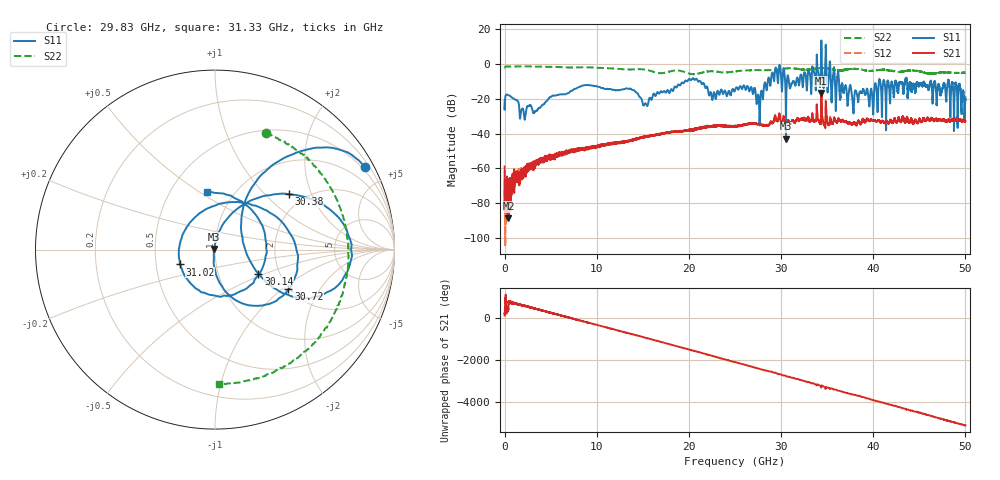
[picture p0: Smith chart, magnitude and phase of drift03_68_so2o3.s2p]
!Created with skrf (http://scikit-rf.org).
# Hz S RI R 50.0
!freq ReS11 ImS11 ReS21 ImS21 ReS12 ImS12 ReS22 ImS22
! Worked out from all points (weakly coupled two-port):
!   10001 points, 300 kHz to 50 GHz, reference 50 ohm
!   highest |S21| = -16.62 dB at 34.37 GHz (marker M1); lowest = -88.8 dB at 420.3 MHz (marker M2)
!   lowest |S11| = -43.0 dB at 30.53 GHz (marker M3), VSWR 1.01, Z = 49.4 + j0.338 ohm
!   |S11| at or under -10 dB: start of sweep to 19.55 GHz; 21.25 GHz to 28.55 GHz (7.298 GHz wide, 29.3 % of centre); 36.28 GHz to 40.62 GHz (4.331 GHz wide, 11.3 % of centre) (the widest 3 of 35)
!   |S22| runs from -5.9 to -1.3 dB; largest |S21 - S12| = 0.025
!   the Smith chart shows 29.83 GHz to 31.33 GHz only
!   S11 on the Smith chart (normalised r, x): 29.83 GHz: 0.38, +3.86; 30.14 GHz: 1.56, -0.46; 30.38 GHz: 1.66, +1.39; 30.72 GHz: 1.97, -1.11; 31.02 GHz: 0.66, -0.12; 31.33 GHz: 0.75, +0.54
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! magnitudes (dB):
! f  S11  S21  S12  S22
! 300 kHz  -21.2  -59.0  -66.6  -2.1
! 420.3 MHz  -18.0  -88.8  -71.6  -1.4
! 3.295 GHz  -27.3  -56.8  -58.6  -1.5
! 8.335 GHz  -12.6  -49.2  -48.9  -1.9
! 15.29 GHz  -22.7  -41.7  -41.8  -3.3
! 16.67 GHz  -16.5  -40.5  -40.5  -5.2
! 20.27 GHz  -9.1  -38.4  -38.0  -5.8
! 22.71 GHz  -16.4  -35.5  -35.7  -4.2
! 25 GHz  -15.2  -36.0  -35.9  -4.3
! 27.53 GHz  -17.8  -34.4  -34.5  -3.5
! 29.83 GHz  -0.4  -29.1  -28.6  -3.0
! 30.14 GHz  -11.1  -33.0  -33.5  -2.8
! 30.38 GHz  -5.8  -32.3  -32.5  -2.6
! 30.53 GHz  -43.0  -34.2  -34.0  -2.5
! 30.72 GHz  -6.7  -32.8  -32.7  -2.5
! 31.02 GHz  -13.4  -34.2  -34.3  -2.4
! 31.33 GHz  -9.8  -32.5  -32.4  -2.5
! 33.34 GHz  -7.5  -31.1  -31.2  -2.9
! 34.37 GHz  13.5  -16.6  -17.8  -2.3
! 37.87 GHz  -28.3  -33.7  -34.1  -2.8
! 41.67 GHz  -11.4  -34.1  -34.2  -3.7
! 50 GHz  -19.1  -32.7  -32.6  -5.0
